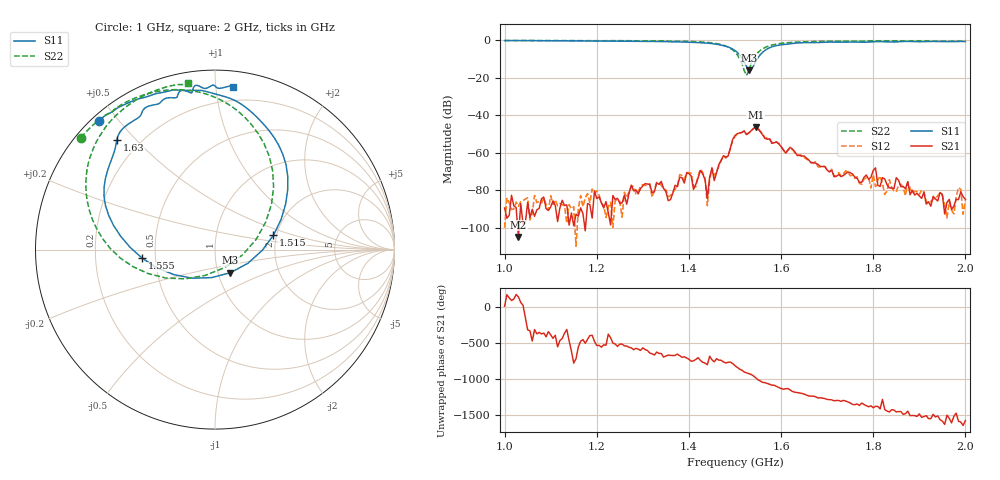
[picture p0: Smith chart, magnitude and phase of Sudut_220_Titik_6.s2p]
# Hz S RI R 50
! CMT, C1220, 16058040, 17.2.0/1
! Date: 14/08/2018 12:23:34
! Data: Format (Calibration Info)
! Freq  S11: Re/Im (F2)  S21: Re/Im (F2)  S12: Re/Im (F2)  S22: Re/Im (F2)
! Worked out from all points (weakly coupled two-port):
!   201 points, 1 GHz to 2 GHz, reference 50 ohm
!   highest |S21| = -46.29 dB at 1.545 GHz (marker M1); lowest = -104.9 dB at 1.03 GHz (marker M2)
!   lowest |S11| = -16.2 dB at 1.53 GHz (marker M3), VSWR 1.37, Z = 57.2 - j15.1 ohm
!   |S11| at or under -10 dB: 1.516 GHz to 1.548 GHz (32.28 MHz wide, 2.11 % of centre)
!   |S22| runs from -18.9 to -0.2 dB; largest |S21 - S12| = 0.00035
!   S11 on the Smith chart (normalised r, x): 1 GHz: 0.02, +0.44; 1.515 GHz: 1.92, +0.34; 1.555 GHz: 0.42, -0.05; 1.63 GHz: 0.12, +0.44; 2 GHz: 0.10, +1.11
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1e9  -0.6458 0.7157  3.3e-05 5.63e-06  7.75e-06 6.2e-06  -0.7479 0.6241
1.03e9  -0.6233 0.7371  -4.17e-06 3.83e-06  -3.09e-05 2.06e-05  -0.7277 0.6467
1.17e9  -0.4688 0.8237  -1.78e-06 -2.37e-05  3.53e-05 -7.6e-06  -0.6113 0.7488
1.335e9  -0.2025 0.8886  3.87e-05 0.000137  4.34e-05 0.000152  -0.3962 0.8622
1.4e9  -0.0231 0.8738  0.000276 -3.68e-05  0.000294 -4.56e-05  -0.2223 0.8912
1.41e9  0.016 0.8629  9.13e-05 -5.11e-05  0.000115 -5.71e-05  -0.1834 0.8904
1.425e9  0.0822 0.8432  0.000306 -0.000134  0.000342 -0.000139  -0.1156 0.8826
1.44e9  0.1412 0.8136  7.62e-06 -6.14e-05  3.3e-05 -1.98e-05  -0.0366 0.8626
1.45e9  0.1842 0.7822  0.000377 -9.62e-05  0.000373 -0.000123  0.0251 0.837
1.455e9  0.2094 0.7605  0.000131 -0.000124  0.000196 -0.00014  0.0585 0.8193
1.5e9  0.4052 0.3339  -0.000353 -0.00282  -0.00031 -0.00266  0.3265 0.3501
1.515e9  0.3252 0.0796  -0.0032 -0.00127  -0.00317 -0.00137  0.2284 0.0553
1.53e9  0.0854 -0.1288  -0.00298 0.0015  -0.00302 0.00149  -0.0528 -0.1434
1.545e9  -0.2294 -0.1393  -0.000554 0.00481  -0.00067 0.00477  -0.3724 -0.1336
1.555e9  -0.4062 -0.0473  0.0023 0.00276  0.00223 0.00296  -0.5268 -0.0477
1.63e9  -0.5468 0.6131  -0.000251 -0.00102  -0.000179 -0.000972  -0.6856 0.5435
1.67e9  -0.4283 0.7343  -0.000502 -0.000194  -0.000506 -0.000167  -0.6176 0.6709
1.77e9  -0.2351 0.846  4.82e-05 0.000154  5.57e-05 0.000141  -0.4619 0.8191
1.805e9  -0.1964 0.8819  0.000191 0.000342  0.000124 8.53e-06  -0.4112 0.8495
1.81e9  -0.1884 0.8865  6.99e-05 0.000114  0.000141 0.000124  -0.4045 0.8534
1.835e9  -0.1365 0.8739  0.000109 -3.65e-05  0.00017 8.58e-05  -0.3711 0.8699
2e9  0.0977 0.9063  -4.14e-05 -3.87e-05  -3.88e-05 -3.66e-05  -0.1485 0.9278
